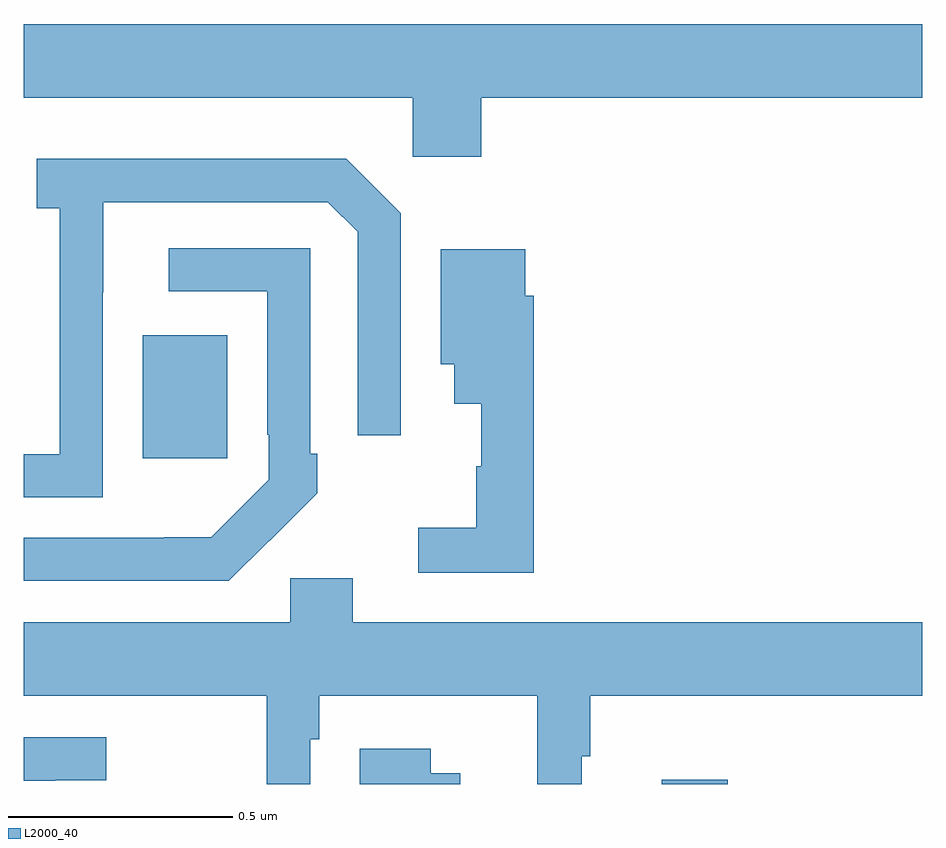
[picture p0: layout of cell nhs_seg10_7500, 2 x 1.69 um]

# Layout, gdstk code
import gdstk
lib = gdstk.Library(unit=1e-6, precision=1e-09)
def R(c, l, rs):  # rectangles x0, y0, x1, y1
    for r in rs: c.add(gdstk.rectangle(r[:2], r[2:], *l))
def P(c, l, *ps):  # polygons
    for p in ps: c.add(gdstk.Polygon(p, *l))
L2000_40 = (2000, 40)

nhs_seg10_7500 = lib.new_cell('nhs_seg10_7500')
R(nhs_seg10_7500, L2000_40, [(206.42,1253.5,206.567,1253.509), (205.265,1254.225,205.453,1254.499)])
P(nhs_seg10_7500, L2000_40, [(206.018,1255.028),(207,1255.028),(207,1255.192),(205,1255.192),(205,1255.028),(205.866,1255.028),(205.866,1254.897),(206.018,1254.897)],
  [(205.176,1254.595),(205.177,1254.595),(205.177,1254.795),(205.677,1254.795),(205.743,1254.729),(205.743,1254.276),(205.839,1254.276),(205.839,1254.771),(205.718,1254.892),(205.029,1254.892),(205.029,1254.782),(205.08,1254.782),(205.08,1254.234),(205,1254.234),(205,1254.138),(205.176,1254.138)],
  [(205.547,1254.043),(205.548,1254.042),(205.653,1254.147),(205.653,1254.235),(205.638,1254.235),(205.638,1254.693),(205.323,1254.693),(205.323,1254.597),(205.542,1254.597),(205.542,1254.277),(205.545,1254.277),(205.545,1254.177),(205.417,1254.049),(205.313,1254.049),(205.313,1254.048),(205,1254.048),(205,1253.952),(205.456,1253.952)],
  [(206.135,1254.587),(206.116,1254.587),(206.116,1254.691),(205.928,1254.691),(205.928,1254.434),(205.958,1254.434),(205.958,1254.347),(206.018,1254.347),(206.018,1254.207),(206.007,1254.207),(206.007,1254.071),(205.878,1254.071),(205.878,1253.97),(206.135,1253.97)],
  [(205.638,1253.6),(205.658,1253.6),(205.658,1253.696),(206.143,1253.696),(206.143,1253.5),(206.242,1253.5),(206.242,1253.562),(206.261,1253.562),(206.261,1253.696),(207,1253.696),(207,1253.86),(205.732,1253.86),(205.732,1253.958),(205.593,1253.958),(205.593,1253.86),(205,1253.86),(205,1253.696),(205.541,1253.696),(205.541,1253.5),(205.638,1253.5)],
  [(205.07,1253.508),(205.183,1253.508),(205.183,1253.604),(205,1253.604),(205,1253.507),(205.07,1253.507)],
  [(205.972,1253.524),(205.906,1253.524),(205.906,1253.578),(205.748,1253.578),(205.748,1253.5),(205.972,1253.5)])

lib.write_gds('nhs_seg10_7500.gds')
